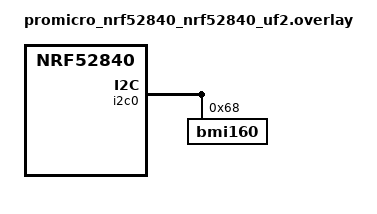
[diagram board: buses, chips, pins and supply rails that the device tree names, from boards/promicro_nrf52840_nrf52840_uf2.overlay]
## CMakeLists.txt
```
# SPDX-License-Identifier: Apache-2.0

cmake_minimum_required(VERSION 3.20.0)

find_package(Zephyr REQUIRED HINTS $ENV{ZEPHYR_BASE})
project(pengyro)

target_sources(app
    PRIVATE
        src/main.c
        src/bmi160.c
        src/pengyro.c
        src/led.c
)
```

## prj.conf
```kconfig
CONFIG_I2C=y
CONFIG_LOG=y
CONFIG_BT=y
CONFIG_BT_PERIPHERAL=y
CONFIG_BT_DEVICE_NAME="PenGyro Module"
CONFIG_BT_SMP=y
```

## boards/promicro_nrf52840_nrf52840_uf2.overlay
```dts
/ {
	aliases {
		accel0 = &bmi160;
		gyro0 = &bmi160;
	};
};

&i2c0 {
	bmi160: bmi160@68 {
		label = "BMI160";
		reg = <0x68>;
	};
};
```

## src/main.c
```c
#include "bmi160.h"
#include "pengyro.h"

#include <zephyr/kernel.h>
#include <zephyr/logging/log.h>

LOG_MODULE_REGISTER(main);

// Connect guide for I2C0
// SCL: GPIO 0.11
// SDA: GPIO 1.00

static const struct i2c_dt_spec sensor = I2C_DT_SPEC_GET(DT_NODELABEL(bmi160));
static uint32_t last_sensortime;

int main(void) {
	LOG_INF("Hello there!");
	return pengyro_main();
}

void pengyro_on_init(struct pengyro_consts* consts, struct pengyro_config* config) {
	consts->time_max = 0xFFFFFF;
	consts->time_scale = 39;
	config->data_rate = 1600;
	config->acc_range = 8;
	config->gyr_range = 2000;
}

int pengyro_on_setup() {
	int err;
	if ((err = bmi160_reset(&sensor))) return err;
	return 0;
}

int pengyro_on_configure(struct pengyro_config* config) {
	int err;
	if ((err = bmi160_config(&sensor, config->data_rate, config->acc_range, config->gyr_range))) return err;
	return 0;
}

int pengyro_on_calibrate() {
	int err;
	struct bmi160_offset offset;

	if ((err = bmi160_calibrate(&sensor, true, 0, 0, 0))) return err;
	k_sleep(K_MSEC(1));

	#ifdef CONFIG_LOG
	if ((err = bmi160_offset_get(&sensor, &offset))) {
		LOG_ERR("Error while trying to log offsets");
	} else {
		LOG_INF("Calibration finished!");
		LOG_INF("  Accelerometer: %d / %d / %d", offset.acc[0], offset.acc[1], offset.acc[2]);
		LOG_INF("  Gyroscope:     %d / %d / %d", offset.gyr[0], offset.gyr[1], offset.gyr[2]);
	}
	#endif

	k_sleep(K_MSEC(1));
	return 0;
}

int pengyro_on_poll_start() {
	int err;
	struct bmi160_data bmi160;
	if ((err = bmi160_pmu(&sensor, true, true))) return err;
	if ((err = bmi160_poll(&sensor, &bmi160))) return err;
	last_sensortime = bmi160.time;
	return 0;
}

int pengyro_on_poll(struct pengyro_data *data) {
	int err;
	struct bmi160_data bmi160;
	if ((err = bmi160_poll(&sensor, &bmi160))) return err;

	data->time = bmi160.time;
	data->delta = bmi160.time > last_sensortime ? bmi160.time - last_sensortime : 0xFFFFFF - last_sensortime + bmi160.time + 1;
	
	for (size_t axis = 0; axis < 3; axis++) {
		data->acc[axis] = bmi160.acc[axis];
		data->gyr[axis] = bmi160.gyr[axis];
	}

	last_sensortime = bmi160.time;
	return 0;
}

int pengyro_on_poll_stop() {
	int err;
	if ((err = bmi160_pmu(&sensor, false, false))) return err;
	return 0;
}
```

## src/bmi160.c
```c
#include "bmi160.h"

#include <zephyr/logging/log.h>

LOG_MODULE_REGISTER(bmi160);

#define BMI160_REG_CHIPID 0x00
#define BMI160_REG_DATA 0x04
#define BMI160_REG_STATUS 0x1B
#define BMI160_REG_ACC_CONF 0x40
#define BMI160_REG_ACC_RANGE 0x41
#define BMI160_REG_GYR_CONF 0x42
#define BMI160_REG_GYR_RANGE 0x43
#define BMI160_REG_FOC_CONF 0x69
#define BMI160_REG_OFFSET 0x71
#define BMI160_REG_CMD 0x7E

#define BMI160_STATUS_FOC_READY 0b00001000
#define BMI160_STATUS_NVM_READY 0b00010000

#define BMI160_FOC_GYR_ENABLE 0b01000000

#define BMI160_ODR_25 0b0110
#define BMI160_ODR_50 0b0111
#define BMI160_ODR_100 0b1000
#define BMI160_ODR_200 0b1001
#define BMI160_ODR_400 0b1010
#define BMI160_ODR_800 0b1011
#define BMI160_ODR_1600 0b1100
#define BMI160_ACC_RANGE_2 0b0011
#define BMI160_ACC_RANGE_4 0b0101
#define BMI160_ACC_RANGE_8 0b1000
#define BMI160_GYR_RANGE_2000 0b000
#define BMI160_GYR_RANGE_1000 0b001
#define BMI160_GYR_RANGE_500 0b010
#define BMI160_GYR_RANGE_250 0b011
#define BMI160_GYR_RANGE_125 0b100
#define BMI160_GYR_CONF_BWP_NORMAL 0b0100000

#define BMI160_CMD_FOC 0x03
#define BMI160_CMD_PMU_ACCELEROMETER(x) (0b00010000 | (x))
#define BMI160_CMD_PMU_GYROSCOPE(x) (0b00010100 | (x))
#define BMI160_CMD_SOFTRESET 0xB6

#define BMI160_PMU_SUSPEND 0b00
#define BMI160_PMU_NORMAL 0b01

#define BMI160_CHIP_ID 0xD1
#define BMI160_TIMESCALE_US 39

int bmi160_reset(const struct i2c_dt_spec* sensor) {
    int err;
    uint8_t chip_id;

    if (!i2c_is_ready_dt(sensor)) return -EBUSY;

    if ((err = i2c_reg_write_byte_dt(sensor, BMI160_REG_CMD, BMI160_CMD_SOFTRESET))) return err;
	k_sleep(K_MSEC(1));

	if ((err = i2c_reg_read_byte_dt(sensor, BMI160_REG_CHIPID, &chip_id))) return err;
	if (chip_id != 0xD1) return -EBADMSG;
	k_sleep(K_MSEC(1));

    return 0;
}

int bmi160_config(const struct i2c_dt_spec* sensor, uint16_t odr, uint16_t acc_range, uint16_t gyr_range) {
    int err;
    uint8_t odr_data, acc_range_data = 0, gyr_range_data = 0;

    switch (odr) {
        case 25: odr_data = BMI160_ODR_25; break;
        case 50: odr_data = BMI160_ODR_50; break;
        case 100: odr_data = BMI160_ODR_100; break;
        case 200: odr_data = BMI160_ODR_200; break;
        case 400: odr_data = BMI160_ODR_400; break;
        case 800: odr_data = BMI160_ODR_800; break;
        case 1600: odr_data = BMI160_ODR_1600; break;
        default:
            LOG_ERR("Invalid ODR: %dHz", odr);
            return -EINVAL;
    }

    switch (acc_range) {
        case 2: acc_range_data = BMI160_ACC_RANGE_2; break;
        case 4: acc_range_data = BMI160_ACC_RANGE_4; break;
        case 8: acc_range_data = BMI160_ACC_RANGE_8; break;
        default:
            LOG_ERR("Invalid accelerometer range: %dG", acc_range);
            return -EINVAL;
    }

    switch (gyr_range) {
        case 125: gyr_range_data = BMI160_GYR_RANGE_125; break;
        case 250: gyr_range_data = BMI160_GYR_RANGE_250; break;
        case 500: gyr_range_data = BMI160_GYR_RANGE_500; break;
        case 1000: gyr_range_data = BMI160_GYR_RANGE_1000; break;
        case 2000: gyr_range_data = BMI160_GYR_RANGE_2000; break;
        default:
            LOG_ERR("Invalid gyroscope range: %ddeg/s", gyr_range);
            return -EINVAL;
    }

    LOG_INF("Configuring sensor with data rate %dHz", odr);

    if (acc_range != 0) {
        LOG_INF("Configuring accelerometer with range +-%dg", acc_range);
        
        if ((err = i2c_reg_write_byte_dt(sensor, BMI160_REG_ACC_CONF, odr_data))) return err;
	    k_sleep(K_MSEC(1));

        if ((err = i2c_reg_write_byte_dt(sensor, BMI160_REG_ACC_RANGE, acc_range_data))) return err;
	    k_sleep(K_MSEC(1));
    }

    if (gyr_range != 0) {
        LOG_INF("Configuring gyroscope with range +-%ddeg/s", gyr_range);

        if ((err = i2c_reg_write_byte_dt(sensor, BMI160_REG_GYR_CONF, odr_data))) return err;
	    k_sleep(K_MSEC(1));

        if ((err = i2c_reg_write_byte_dt(sensor, BMI160_REG_GYR_RANGE, gyr_range_data))) return err;
	    k_sleep(K_MSEC(1));
    }

    return 0;
}

int bmi160_pmu(const struct i2c_dt_spec* sensor, bool acc, bool gyr) {
    int err;

    if ((err = i2c_reg_write_byte_dt(sensor, BMI160_REG_CMD, BMI160_CMD_PMU_ACCELEROMETER(acc ? BMI160_PMU_NORMAL : BMI160_PMU_SUSPEND)))) return err;
    k_sleep(K_MSEC(10));

    if ((err = i2c_reg_write_byte_dt(sensor, BMI160_REG_CMD, BMI160_CMD_PMU_GYROSCOPE(gyr ? BMI160_PMU_NORMAL : BMI160_PMU_SUSPEND)))) return err;
    k_sleep(K_MSEC(100));

    LOG_INF("Reconfigured power mode");
    return 0;
}

int bmi160_poll(const struct i2c_dt_spec* sensor, struct bmi160_data* data) {
    int err;
	uint8_t reg_data = BMI160_REG_DATA;
    if ((err = i2c_write_read_dt(sensor, &reg_data, 1, data, sizeof(struct bmi160_data) - 1))) return err;
    return 0;
}

int bmi160_offset_get(const struct i2c_dt_spec* sensor, struct bmi160_offset* offset) {
    int err;
    uint8_t reg_data = BMI160_REG_OFFSET;
	if ((err = i2c_write_read_dt(sensor, &reg_data, 1, offset, sizeof(struct bmi160_offset)))) return err;
	k_sleep(K_MSEC(1));
    return 0;
}

int bmi160_calibrate(const struct i2c_dt_spec* sensor, bool gyr, int8_t acc_x, int8_t acc_y, int8_t acc_z) {
    int err;
	uint8_t status;
    uint8_t data = (gyr ? BMI160_FOC_GYR_ENABLE : 0) | (acc_x << 4) | (acc_y << 2) | acc_z;

    if ((err = i2c_reg_write_byte_dt(sensor, BMI160_REG_FOC_CONF, data))) return err;
	k_sleep(K_MSEC(1));

	if ((err = i2c_reg_write_byte_dt(sensor, BMI160_REG_CMD, BMI160_CMD_FOC))) return err;
	k_sleep(K_MSEC(1));

    while (1) {
		if ((err = i2c_reg_read_byte_dt(sensor, BMI160_REG_STATUS, &status))) return err;
		k_sleep(K_MSEC(20));
		if (status & BMI160_STATUS_FOC_READY) break;
	}

    return 0;
}
```

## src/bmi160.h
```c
#ifndef _SENSOR_H
#define _SENSOR_H

#include <zephyr/kernel.h>
#include <zephyr/drivers/i2c.h>

struct bmi160_data {
	int16_t mag[3];
	int16_t rhall;
	int16_t gyr[3];
	int16_t acc[3];
	uint32_t time;
};

struct bmi160_offset {
	int16_t acc[3];
	int16_t gyr[3];
};

/**
 * @brief Reset the BMI160 sensor
 *
 * This function reset the BMI160 sensor and reconfigure it with given parameters.
 *
 * @param sensor The sensor devicetree specification
 * @param odr The output data rate for both accelerometer and gyroscope
 * @param acc_range The range of the accelerometer (G), or 0 to disable
 * @param gyr_range The range of the gyroscope (deg/s), or 0 to disable
 * @returns 0 if success, negative value on error
 */
int bmi160_reset(const struct i2c_dt_spec* sensor);

/**
 * @brief Configure the sensor
 *
 * This function configure the sensor with given parameters.
 *
 * @param sensor The sensor devicetree specification
 * @param odr The output data rate for both accelerometer and gyroscope
 * @param acc_range The range of the accelerometer (G), or 0 to disable
 * @param gyr_range The range of the gyroscope (deg/s), or 0 to disable
 * @returns 0 if success, negative value on error
 */
int bmi160_config(const struct i2c_dt_spec* sensor, uint16_t odr, uint16_t acc_range, uint16_t gyr_range);

/**
 * @brief Configure power mode
 *
 * This function configure power mode of accelerometer and gyroscope.
 *
 * @param sensor The sensor devicetree specification
 * @param acc true to put accelerometer to normal mode, false to suspend
 * @param gyr true to put gyroscope to normal mode, false to suspend
 */
int bmi160_pmu(const struct i2c_dt_spec* sensor, bool acc, bool gyr);

/**
 * @brief Poll the sensor
 *
 * This function read the sensor data.
 *
 * @param sensor The sensor devicetree specification
 * @param data The pointer to struct to obtain data
 * @returns 0 if success, negative value on error
 */
int bmi160_poll(const struct i2c_dt_spec* sensor, struct bmi160_data* data);

/**
 * @brief Read the offsets
 *
 * This function read the calibration data stored on sensor.
 *
 * @param sensor The sensor devicetree specification
 * @param data The pointer to struct to obtain offsets
 * @returns 0 if success, negative value on error
 */
int bmi160_offset_get(const struct i2c_dt_spec* sensor, struct bmi160_offset* offset);

/**
 * @brief Calibrate the sensor
 *
 * This function trigger fast offset calibration on the sensor. The calibration data is then stored in offset register.
 * All the possible accelerometer target values are:
 *
 * - `0` (disable axis)
 * - `1` (+1g)
 * - `2` (-1g)
 * - `3` (0g)
 *
 * @param sensor The sensor devicetree specification
 * @param gyr Whether to include gyroscope in calibration
 * @param acc_x Accelerometer X axis target value
 * @param acc_y Accelerometer Y axis target value
 * @param acc_z Accelerometer Z axis target value
 * @returns 0 if success, negative value on error
 */
int bmi160_calibrate(const struct i2c_dt_spec* sensor, bool gyr, int8_t acc_x, int8_t acc_y, int8_t acc_z);

#endif //_SENSOR_H
```

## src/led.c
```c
#include "led.h"

#include <zephyr/kernel.h>
#include <zephyr/drivers/gpio.h>

static const struct gpio_dt_spec led = GPIO_DT_SPEC_GET(DT_NODELABEL(led0), gpios);
static enum led_state _led_state = LED_STATE_IDLE;

static void _led_main() {
    if (!gpio_is_ready_dt(&led)) return;
    if (gpio_pin_configure_dt(&led, GPIO_OUTPUT_ACTIVE)) return;

    while (1) {
        switch (_led_state) {
            case LED_STATE_PAIRING: {
                gpio_pin_toggle_dt(&led);
                k_sleep(K_MSEC(500));
                continue;
            }
            default: {
                gpio_pin_set_dt(&led, 0);
                k_sleep(K_FOREVER);
                continue;
            }
        }
    }
}

static K_THREAD_DEFINE(
    _led_thread,
    512, // Stack size,
    _led_main,
    NULL, // Userdata 1
    NULL, // Userdata 2
    NULL, // Userdata 3
    15, // Priority
    0, // Options
    0 // Delay
);

void led_set_state(enum led_state state) {
    if (_led_state == state) return;
    _led_state = state;
    k_wakeup(_led_thread);
}
```

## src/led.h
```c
#ifndef _LED_H
#define _LED_H

enum led_state {
    LED_STATE_IDLE = 0,
    LED_STATE_PAIRING = 1,
    LED_STATE_MAX
};

/**
 * @brief Set LED state
 *
 * Set the new LED indicator state. This also reset the internal states.
 *
 * @param state The state to set
 */
void led_set_state(enum led_state state);

#endif
```

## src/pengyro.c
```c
#include "pengyro.h"
#include "led.h"

#include <math.h>
#include <zephyr/logging/log.h>
#include <zephyr/bluetooth/bluetooth.h>
#include <zephyr/bluetooth/gatt.h>
#include <zephyr/bluetooth/uuid.h>

LOG_MODULE_REGISTER(pengyro);

#define PENGYRO_BT_UUID_SERVICE BT_UUID_128_ENCODE(0x217a5545, 0x9217, 0x403b, 0xa2af, 0xaf04cf7fad88)
#define PENGYRO_BT_UUID_CHAR_CONFIG BT_UUID_128_ENCODE(0xee8cf7e0, 0xa370, 0x4fb2, 0x9d16, 0xd1e31ac66051)
#define PENGYRO_BT_UUID_CHAR_CONSTS BT_UUID_128_ENCODE(0xf1563870, 0xf4e5, 0x41ba, 0x8165, 0x7954f2513905)
#define PENGYRO_BT_UUID_CHAR_DATA BT_UUID_128_ENCODE(0xd312a6d2, 0x2375, 0x48fb, 0xa333, 0xc413144bc6c8)
#define PENGYRO_BT_UUID_CHAR_ROTATION BT_UUID_128_ENCODE(0x270b1d88, 0xac32, 0x4658, 0x99d3, 0xbabd43a2db93)

static const struct bt_uuid_128 _pengyro_bt_uuid_service = BT_UUID_INIT_128(PENGYRO_BT_UUID_SERVICE);
static const struct bt_uuid_128 _pengyro_bt_uuid_char_config = BT_UUID_INIT_128(PENGYRO_BT_UUID_CHAR_CONFIG);
static const struct bt_uuid_128 _pengyro_bt_uuid_char_consts = BT_UUID_INIT_128(PENGYRO_BT_UUID_CHAR_CONSTS);
static const struct bt_uuid_128 _pengyro_bt_uuid_char_data = BT_UUID_INIT_128(PENGYRO_BT_UUID_CHAR_DATA);
static const struct bt_uuid_128 _pengyro_bt_uuid_char_rotation = BT_UUID_INIT_128(PENGYRO_BT_UUID_CHAR_ROTATION);

static bool _pengyro_notify_data = false;
static bool _pengyro_notify_rotation = false;
static struct pengyro_consts _pengyro_consts;
static struct pengyro_config _pengyro_config = { .cmd = PENGYRO_CMD_IDLE };

static void _pengyro_bt_on_data_ccc_config_changed(const struct bt_gatt_attr* attr, uint16_t value) {
    _pengyro_notify_data = value == BT_GATT_CCC_NOTIFY;
    LOG_INF("Data CCC configuration changed to %d", _pengyro_notify_data);
}

static void _pengyro_bt_on_rotation_ccc_config_changed(const struct bt_gatt_attr* attr, uint16_t value) {
    _pengyro_notify_rotation = value == BT_GATT_CCC_NOTIFY;
    LOG_INF("Rotation CCC configuration changed to %d", _pengyro_notify_rotation);
}

static ssize_t _pengyro_bt_on_config_read(struct bt_conn* conn, const struct bt_gatt_attr* attr, void* buf, uint16_t len, uint16_t offset) {
    return bt_gatt_attr_read(conn, attr, buf, len, offset, &_pengyro_config, sizeof(_pengyro_config));
}

static ssize_t _pengyro_bt_on_config_write(struct bt_conn* conn, const struct bt_gatt_attr* attr, const void* buf, uint16_t len, uint16_t offset, uint8_t flags) {
    int err;

    if (len < sizeof(uint16_t) || len > sizeof(struct pengyro_config)) return BT_GATT_ERR(BT_ATT_ERR_INVALID_ATTRIBUTE_LEN);
    if (offset != 0) return BT_GATT_ERR(BT_ATT_ERR_INVALID_OFFSET);

    uint16_t cmd = *((uint16_t*)buf);
    if (cmd != _pengyro_config.cmd && _pengyro_config.cmd != PENGYRO_CMD_IDLE) return BT_GATT_ERR(BT_ATT_ERR_WRITE_REQ_REJECTED);
    if (cmd >= PENGYRO_CMD_MAX) return BT_GATT_ERR(BT_ATT_ERR_VALUE_NOT_ALLOWED);
    _pengyro_config.cmd = cmd;

    #ifdef CONFIG_LOG
    if (cmd != PENGYRO_CMD_IDLE) LOG_INF("Executing command: 0x%02x", cmd);
    #endif

    if (len == sizeof(struct pengyro_config)) {
        struct pengyro_config* config = (struct pengyro_config*)buf;
        bool changed = config->data_rate != _pengyro_config.data_rate;
        changed |= config->acc_range != _pengyro_config.acc_range;
        changed |= config->gyr_range != _pengyro_config.gyr_range;

        if (changed) {
            if ((err = pengyro_on_configure(config))) {
                LOG_ERR("Error while configuring sensor (%d)", err);
                return BT_GATT_ERR(BT_ATT_ERR_VALUE_NOT_ALLOWED);
            }

            _pengyro_config.data_rate = config->data_rate;
            _pengyro_config.acc_range = config->acc_range;
            _pengyro_config.gyr_range = config->gyr_range;

            LOG_INF("Reconfigured device");
        }
    }

    return len;
}

static ssize_t _pengyro_bt_on_consts_read(struct bt_conn* conn, const struct bt_gatt_attr* attr, void* buf, uint16_t len, uint16_t offset) {
    return bt_gatt_attr_read(conn, attr, buf, len, offset, &_pengyro_consts, sizeof(_pengyro_consts));
}

static BT_GATT_SERVICE_DEFINE(_pengyro_bt_service,
    BT_GATT_PRIMARY_SERVICE(&_pengyro_bt_uuid_service),
    BT_GATT_CHARACTERISTIC(&_pengyro_bt_uuid_char_config.uuid, BT_GATT_CHRC_READ | BT_GATT_CHRC_WRITE, BT_GATT_PERM_READ | BT_GATT_PERM_WRITE, _pengyro_bt_on_config_read, _pengyro_bt_on_config_write, NULL),
    BT_GATT_CHARACTERISTIC(&_pengyro_bt_uuid_char_consts.uuid, BT_GATT_CHRC_READ, BT_GATT_PERM_READ, _pengyro_bt_on_consts_read, NULL, NULL),
    BT_GATT_CHARACTERISTIC(&_pengyro_bt_uuid_char_data.uuid, BT_GATT_CHRC_NOTIFY, BT_GATT_PERM_NONE, NULL, NULL, NULL),
    BT_GATT_CCC(_pengyro_bt_on_data_ccc_config_changed, BT_GATT_PERM_READ | BT_GATT_PERM_WRITE),
    BT_GATT_CHARACTERISTIC(&_pengyro_bt_uuid_char_rotation.uuid, BT_GATT_CHRC_NOTIFY, BT_GATT_PERM_NONE, NULL, NULL, NULL),
    BT_GATT_CCC(_pengyro_bt_on_rotation_ccc_config_changed, BT_GATT_PERM_READ | BT_GATT_PERM_WRITE)
);

static const struct bt_data ad[] = {
    BT_DATA_BYTES(BT_DATA_FLAGS, (BT_LE_AD_GENERAL | BT_LE_AD_NO_BREDR)),
    BT_DATA_BYTES(BT_DATA_UUID128_ALL,
        PENGYRO_BT_UUID_SERVICE
    )
};

static const struct bt_data sd[] = {
    BT_DATA(BT_DATA_NAME_COMPLETE, CONFIG_BT_DEVICE_NAME, (sizeof(CONFIG_BT_DEVICE_NAME) - 1))
};

static const struct bt_le_adv_param* adv_param = BT_LE_ADV_PARAM(
    (BT_LE_ADV_OPT_CONN | BT_LE_ADV_OPT_USE_IDENTITY),
    800, // Min interval 500ms
    801, // Max interval 500.625ms
    NULL // Undirected advertising
);

static void _pengyro_bt_on_advertise_work(struct k_work* work) {
    int err;
    
    if ((err = bt_le_adv_start(adv_param, ad, ARRAY_SIZE(ad), sd, ARRAY_SIZE(sd)))) {
        LOG_ERR("Error while advertising (%d)", err);
        return;
    }

    LOG_INF("Now advertising as %s", CONFIG_BT_DEVICE_NAME);
    led_set_state(LED_STATE_PAIRING);
}

static K_WORK_DEFINE(_pengyro_advertise_work, _pengyro_bt_on_advertise_work);

static void _pengyro_bt_advertise() {
    k_work_submit(&_pengyro_advertise_work);
}

static void _pengyro_bt_on_connected(struct bt_conn* conn, uint8_t err) {
    led_set_state(LED_STATE_IDLE);
}

static void _pengyro_bt_on_conn_recycled() {
    LOG_INF("A new connection slot is available, starting advertising");
    _pengyro_bt_advertise();
}

BT_CONN_CB_DEFINE(_pengyro_bt_callbacks) = {
    .connected = _pengyro_bt_on_connected,
    .recycled = _pengyro_bt_on_conn_recycled
};

// Main thread
int pengyro_main() {
    int err;
    struct pengyro_data data;
    double rotation = 0;

    pengyro_on_init( &_pengyro_consts, &_pengyro_config);
    LOG_INF("Loaded default values");

    if ((err = bt_enable(NULL))) {
        LOG_ERR("Error while enabling Bluetooth (%d). This is a fatal error.", err);
        return 1;
    } else {
        LOG_INF("Enabled Bluetooth!\n");
    }

    const struct bt_gatt_attr* data_attr = bt_gatt_find_by_uuid(
        _pengyro_bt_service.attrs,
        _pengyro_bt_service.attr_count,
        &_pengyro_bt_uuid_char_data.uuid
    );

    if (data_attr == NULL) {
        LOG_ERR("Data attribute is not defined. This is a fatal error.");
        return 2;
    }

    const struct bt_gatt_attr* rotation_attr = bt_gatt_find_by_uuid(
        _pengyro_bt_service.attrs,
        _pengyro_bt_service.attr_count,
        &_pengyro_bt_uuid_char_rotation.uuid
    );

    if (rotation_attr == NULL) {
        LOG_ERR("Rotation attribute is not defined. This is a fatal error.");
        return 2;
    }

    _pengyro_bt_advertise();

    while (1) {
        bool last_polling = false;

        k_sleep(K_MSEC(500));
        LOG_INF("Initializing sensor...");

        if ((err = pengyro_on_setup())) {
            LOG_ERR("Error while setting up sensor (%d), restarting", err);
            continue;
        }

        if ((err = pengyro_on_configure(&_pengyro_config))) {
            LOG_ERR("Error while configuring sensor (%d), restarting", err);
            continue;
        }

        LOG_INF("Sensor is initialized!");

        while (1) {
            bool polling = _pengyro_notify_data || _pengyro_notify_rotation;

            // Commands
            if (_pengyro_config.cmd == PENGYRO_CMD_CALIBRATE) {
                if (!last_polling && !polling) {
                    LOG_INF("Resuming sensor for calibration...");

                    if ((err = pengyro_on_poll_start())) {
                        LOG_ERR("Sensor resuming failed (%d), restarting", err);
                        break;
                    }
                }

                if ((err = pengyro_on_calibrate())) {
                    LOG_ERR("Sensor calibration failed (%d), restarting", err);
                    break;
                }

                _pengyro_config.cmd = PENGYRO_CMD_IDLE;

                if (!last_polling && !polling) {
                    LOG_INF("Suspending sensor after calibration...");

                    if ((err = pengyro_on_poll_stop())) {
                        LOG_ERR("Sensor suspending failed (%d)", err);
                    }
                }
            }

            // Polling data
            if (last_polling ^ polling) {
                LOG_INF("Polling state changed");
                last_polling = polling;

                if (polling) {
                    if ((err = pengyro_on_poll_start())) {
                        LOG_ERR("Sensor resuming failed (%d), restarting", err);
                        break;
                    }
                } else {
                    if ((err = pengyro_on_poll_stop())) {
                        LOG_ERR("Sensor suspending failed (%d)\n", err);
                    }
                }
            }

            if (polling) {
                if ((err = pengyro_on_poll(&data))) {
                    LOG_ERR("Sensor poll failed (%d), restarting", err);
                    break;
                }
            } else {
                // TODO: Wake the thread up from sleep
                k_sleep(K_MSEC(100));
                continue;
            }

            // Processing & notifying
            if (_pengyro_notify_data) {
                if ((err = bt_gatt_notify(NULL, data_attr, &data, sizeof(struct pengyro_data)))) {
                    LOG_WRN("Bluetooth GATT notify failed (%d)", err);
                }
            }

            if (_pengyro_notify_rotation) {
                double gyr_y = (double)data.gyr[1] * _pengyro_config.gyr_range / 32767;
                double rotated = gyr_y * data.delta * _pengyro_consts.time_scale / 1e6;
                rotation = fmod(rotation + rotated, 360.0);
                if (rotation < 0) rotation += 360.0;

                if ((err = bt_gatt_notify(NULL, rotation_attr, &rotation, sizeof(rotation)))) {
                    LOG_WRN("Bluetooth GATT notify failed (%d)", err);
                }
            }
        }
    }

    return 0;
}
```

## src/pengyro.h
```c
#ifndef _PENGYRO_H
#define _PENGYRO_H

#include <zephyr/kernel.h>
#include <zephyr/drivers/gpio.h>

/**
 * @brief PenGyro configuration
 *
 * This struct define the confiurations for PenGyro module. The configuration is stored inside the memory and it will be
 * reverted back to defaults upon power reset. Setting invalid values will result in `BT_ATT_ERR_VALUE_NOT_ALLOWED`
 * error.
 *
 * The characteristic UUID is `ee8cf7e0-a370-4fb2-9d16-d1e31ac66051`
 */
struct pengyro_config {
    /**
     * @brief Currently executing command
     *
     * This shows the command that is currently being executed. The commands are defined in `PENGYRO_CMD_*` enum. While
     * the command is being executed, this field will retain the value, and it will automatically set back to
     * `PENGYRO_CMD_IDLE` once the command is finished.
     *
     * Except for `PENGYRO_CMD_IDLE`, while the command is being executed, this field should never be modified.
     */
    uint16_t cmd;
    uint16_t data_rate;
    uint16_t acc_range;
    uint16_t gyr_range;
};

enum : uint8_t {
    PENGYRO_CMD_IDLE = 0x00,
    PENGYRO_CMD_CALIBRATE = 0x01,
    PENGYRO_CMD_MAX
};

/**
 * @brief PenGyro data constants
 *
 * This struct define the constants that will be used in `pengyro_data`. The accelerometer range is measured in G, the
 * gyroscope range is measured in deg/s and the timescale is measured in microseconds (us). Note that the max time value
 * is inclusive (as in the `time` is always less than or equals to `max_time`).
 *
 * The characteristic UUID is `f1563870-f4e5-41ba-8165-7954f2513905`
 */
struct pengyro_consts {
    uint32_t time_max;
    uint16_t time_scale;
};

/**
 * @brief PenGyro data
 *
 * This struct define the data that will be reported to host.
 *
 * - `time` is the absolute time, which wraps around when reaching `time_max` defined in `pengyro_consts`
 * - `delta` is the delta time between last and current data
 * - `acc` is the accelerometer values in -32767 -> 32767 range
 * - `gyr` is the gyroscope values in -32767 -> 32767 range
 *
 * The time values are meant to be scaled by `time_scale` defined in `pengyro_consts` to obtain the time in microseconds
 * (us) and used in calculating the velocity, position and rotation.
 *
 * The characteristic UUID is `d312a6d2-2375-48fb-a333-c413144bc6c8`
 */
struct pengyro_data {
    uint32_t time;
    uint32_t delta;
    int16_t acc[3];
    int16_t gyr[3];
};

/**
 * @brief PenGyro rotation data
 *
 * This typdef define the rotation data that will be reported to host. The value is reported in degrees and wraps around
 * 360deg. In other words, the value is between 0deg (inclusively) and 360deg (exclusively).
 *
 * The characteristic UUID is `270b1d88-ac32-4658-99d3-babd43a2db93`
 */
typedef double pengyro_rotation;

/**
 * @brief Callback on initializing default values
 *
 * This function will be called by PenGyro to initialize default values. Since the values are not stored in NVRAM, this
 * function will always be called on start.
 */
void pengyro_on_init(struct pengyro_consts* consts, struct pengyro_config* config);

/**
 * @brief Callback on setting up
 *
 * This function will be called by PenGyro to initialize the sensor. If this function is failed, the system will attempt
 * to reinitialize everything.
 */
int pengyro_on_setup();

/**
 * @brief Callback on configure
 *
 * This function will be called by PenGyro to reconfigure the sensor. If this function is failed, the system will
 * attempt to reinitialize everything.
 */
int pengyro_on_configure(struct pengyro_config* config);

/**
 * @brief Callback on polling start
 *
 * This function will be called by PenGyro right before `pengyro_on_poll()` is called, or right after the calibration is
 * finished. Use this callback to resume the sensor from suspend mode.
 */
int pengyro_on_poll_start();

/**
 * @brief Callback on polling stop
 *
 * This function will be called by PenGyro when the sensor is no longer needed to be polled. Use this callback to put
 * the sensor to suspend mode.
 */
int pengyro_on_poll_stop();

/**
 * @brief Callback on polling
 *
 * This function will be called by PenGyro when a new data need to be read from sensor. If this function is failed, the
 * system will attempt to reinitialize everything. PenGyro only need data when there is at least 1 Bluetooth connection
 * start listening for data.
 *
 * @returns 0 if successful, non-zero if failed.
 */
int pengyro_on_poll(struct pengyro_data* data);

/**
 * @brief Callback on calibrate
 *
 * This function will be called by PenGyro when the sensor is needed to be calibrated. If this function is failed, the
 * system attempt to reinitialize everything.
 */
int pengyro_on_calibrate();

/**
 * @brief Main function for PenGyro
 *
 * This function is meant to be called in `main()` function of your Zephyr app.
 *
 * @param led The LED indicator device
 */
int pengyro_main();

#endif // _PENGYRO_H
```
